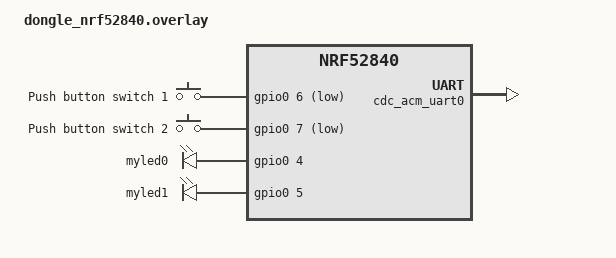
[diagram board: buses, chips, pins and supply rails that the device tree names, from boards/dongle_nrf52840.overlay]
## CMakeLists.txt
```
#
# Copyright (c) 2020 Nordic Semiconductor ASA
#
# SPDX-License-Identifier: LicenseRef-Nordic-5-Clause
#
cmake_minimum_required(VERSION 3.20.0)

find_package(Zephyr REQUIRED HINTS $ENV{ZEPHYR_BASE})

project(thread_coap_client_dongle_power_strip)

# NORDIC SDK APP START
target_sources(app PRIVATE src/thread_dongle_client_power_strip.c
                  src/coap_client_utils.c)

target_include_directories(app PUBLIC ../thread_dongle_server/interface)
# NORDIC SDK APP END
```

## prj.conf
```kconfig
#
# Copyright (c) 2020 Nordic Semiconductor
#
# SPDX-License-Identifier: LicenseRef-Nordic-5-Clause
#

# nRF board library
CONFIG_DK_LIBRARY=y

# Enable CoAP utils and CoAP protocol
CONFIG_COAP_UTILS=y

# Generic networking options
CONFIG_NETWORKING=y

# L2 OpenThread enabling
CONFIG_NET_L2_OPENTHREAD=y

# Network shell
CONFIG_SHELL=y
CONFIG_OPENTHREAD_SHELL=y
CONFIG_SHELL_ARGC_MAX=26
CONFIG_SHELL_CMD_BUFF_SIZE=416

# Network sockets
CONFIG_NET_SOCKETS=y
CONFIG_NET_SOCKETS_POSIX_NAMES=y
CONFIG_NET_SOCKETS_POLL_MAX=4

# Same network Master Key for client and server
CONFIG_OPENTHREAD_NETWORKKEY="00:11:22:33:44:55:66:77:88:99:aa:bb:cc:dd:ee:ff"

CONFIG_MBEDTLS_SHA1_C=n
CONFIG_FPU=y
```

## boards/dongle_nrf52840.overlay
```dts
/* Copyright (c) 2020 Nordic Semiconductor ASA
 *
 * SPDX-License-Identifier: LicenseRef-Nordic-5-Clause
 */

/ {
    /*
    * In some default configurations within the nRF Connect SDK,
    * e.g. on nRF52840, the chosen zephyr,entropy node is &cryptocell.
    * This devicetree overlay ensures that default is overridden wherever it
    * is set, as this application uses the RNG node for entropy exclusively.
    */
    chosen {
        zephyr,console = &cdc_acm_uart0;
        zephyr,entropy = &rng;
        zephyr,shell-uart = &cdc_acm_uart0;
    };
    aliases {
        line1 = &myled0;
        line2 = &myled1;
        row1 = &button1;
        row2 = &button2;
    };
    buttons {
        compatible = "gpio-keys";
        button1: button_1 {
            gpios = <&gpio0 6 (GPIO_PULL_UP | GPIO_ACTIVE_LOW)>;
            label = "Push button switch 1";
        };
        button2: button_2 {
            gpios = <&gpio0 7 (GPIO_PULL_UP | GPIO_ACTIVE_LOW)>;
            label = "Push button switch 2";
        };
    };

    leds {
            compatible = "gpio-leds";
            myled0: led_4 {
                    gpios = <&gpio0 4 GPIO_ACTIVE_HIGH>;
            };
            myled1: led_5 {
                gpios = <&gpio0 5 GPIO_ACTIVE_HIGH>;
        };
    };
};

&adc {
    status = "disabled";
};
&uart1 {
    status = "disabled";
};
&pwm0 {
    status = "disabled";
};
&i2c0 {
    status = "disabled";
};
&spi0 {
    status = "disabled";
};
&spi1 {
    status = "disabled";
};
&spi2 {
    status = "disabled";
};
&spi3 {
    status = "disabled";
};
&qspi {
    status = "disabled";
};

&zephyr_udc0 {
    cdc_acm_uart0: cdc_acm_uart0 {
        compatible = "zephyr,cdc-acm-uart";
    };
};
```

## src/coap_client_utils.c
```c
/*
 * Copyright (c) 2020 Nordic Semiconductor ASA
 *
 * SPDX-License-Identifier: LicenseRef-Nordic-5-Clause
 */

#include <zephyr/kernel.h>
#include <thread_dongle_interface.h>
#include <dk_buttons_and_leds.h>
#include <net/coap_utils.h>
#include <zephyr/logging/log.h>
#include <zephyr/net/openthread.h>
#include <zephyr/net/socket.h>
#include <openthread/thread.h>

#include "coap_client_utils.h"

static bool is_connected;

static struct k_work send_keep_alive_work;
static struct k_work power_strip_status_work;
static struct k_work on_connect_work;
static struct k_work on_disconnect_work;


/* Options supported by the server */
static const char *const commands_option[] = { COMMANDS_URI_PATH, NULL };
static const char *const power_strip_status_option[] = { POWER_STRIP_URI_PATH, NULL };

/* Thread multicast mesh local address */
static struct sockaddr_in6 multicast_local_addr = {
     .sin6_family = AF_INET6,
     .sin6_port = htons(COAP_PORT),
     .sin6_addr.s6_addr = { 0xff, 0x03, 0x00, 0x00, 0x00, 0x00, 0x00, 0x00,
                      0x00, 0x00, 0x00, 0x00, 0x00, 0x00, 0x00, 0x01 },
     .sin6_scope_id = 0U
};

// Variable for storing orchestrator server ressources */
struct server_ressources {
     bool r1_status;
     bool r2_status;
     bool r3_status;
     bool r4_status;
};

static struct server_ressources srv_ressources = {
    .r1_status = NULL,
    .r2_status = NULL,
    .r3_status = NULL,
    .r4_status = NULL,
};

static int on_commands_msg_reply(const struct coap_packet *response,
                     struct coap_reply *reply,
                     const struct sockaddr *from)
{
     ARG_UNUSED(reply);
     ARG_UNUSED(from);   

     const uint8_t *payload;
     uint16_t payload_size = 0u; 
     char *cmd_ok = "CMD:OK";

     dk_set_led_off(RESSOURCES_STATUS_MSG_LED);

     payload = coap_packet_get_payload(response, &payload_size);

     // Check if CMD:OK in payload
     if (strstr(payload, cmd_ok) != NULL) {
          printk("THREAD [DEBBUG]: commands msg reply: CMD_ACK\r\n"); 
          dk_set_led_off(COMMANDS_MSG_LED);     
     }
exit:
     return 0;
}

static int on_power_strip_status_reply(const struct coap_packet *response,
                     struct coap_reply *reply,
                     const struct sockaddr *from)
{
     const uint8_t *payload;
     uint16_t payload_size = 0u;

     ARG_UNUSED(reply);
     ARG_UNUSED(from);

     printk("THREAD [DEBBUG]: Power strip status reply received from server \r\n");     

     dk_set_led_off(RESSOURCES_STATUS_MSG_LED);

     payload = coap_packet_get_payload(response, &payload_size); 

     // Print payload
     printk("THREAD [DEBBUG]: Received payload: size: %d  payload ", payload_size);
		for( int i =0; i < payload_size; i++ ){
			printk("%c", payload[i]);
     }
     printk("\r\n");

     // Check if outlet in payload
     char* outlet_in_payload = strchr(payload, 'o');
     if(*outlet_in_payload != NULL){
          // Retreive relays status
          const char r1_status_char = (char)payload[8];
          const char r2_status_char = (char)payload[9];
          const char r3_status_char = (char)payload[10];
          const char r4_status_char = (char)payload[11];
          bool r1_received_status = r1_status_char == '1' ? true : false;   
          bool r2_received_status = r2_status_char == '1' ? true : false;   
          bool r3_received_status = r3_status_char == '1' ? true : false;   
          bool r4_received_status = r4_status_char == '1' ? true : false; 

          // Set new status to server ressources instance
          srv_ressources.r1_status=r1_received_status;
          srv_ressources.r2_status=r2_received_status;
          srv_ressources.r3_status=r3_received_status;
          srv_ressources.r4_status=r4_received_status;          
     }
exit:
     return 0;
}

static void send_keep_alive(struct k_work *item)
{
     ARG_UNUSED(item);

     printk("THREAD [DEBBUG]: Sending keep alive msg to server \r\n");

     static uint8_t msg_buf[] = KEEP_ALIVE_DEVICE_ID_7;
     uint16_t msg_len = sizeof(msg_buf);

     int ret_coap_req = coap_send_request(
          COAP_METHOD_PUT,(const struct sockaddr *)&multicast_local_addr,
          commands_option, &msg_buf, msg_len, on_commands_msg_reply);
     
     dk_set_led_on(COMMANDS_MSG_LED);
}

static void send_power_strip_status_request(struct k_work *item)
{
     ARG_UNUSED(item);

     printk("THREAD [DEBBUG]: Sending power strip status request to server \r\n");

     coap_send_request(COAP_METHOD_GET,
                 (const struct sockaddr *)&multicast_local_addr,
                 power_strip_status_option, NULL, 0u, on_power_strip_status_reply);
     dk_set_led_on(RESSOURCES_STATUS_MSG_LED);
}

bool get_server_r1_status(void){
     return srv_ressources.r1_status;
}

bool get_server_r2_status(void){
     return srv_ressources.r2_status;
}

bool get_server_r3_status(void){
     return srv_ressources.r3_status;
}

bool get_server_r4_status(void){
     return srv_ressources.r4_status;
}

static void on_thread_state_changed(otChangedFlags flags, struct openthread_context *ot_context,
                        void *user_data)
{
     if (flags & OT_CHANGED_THREAD_ROLE) {
          switch (otThreadGetDeviceRole(ot_context->instance)) {
          case OT_DEVICE_ROLE_CHILD:
          case OT_DEVICE_ROLE_ROUTER:
          case OT_DEVICE_ROLE_LEADER:
               k_work_submit(&on_connect_work);
               is_connected = true;
               break;

          case OT_DEVICE_ROLE_DISABLED:
          case OT_DEVICE_ROLE_DETACHED:
          default:
               k_work_submit(&on_disconnect_work);
               is_connected = false;
               break;
          }
     }
}

static struct openthread_state_changed_cb ot_state_chaged_cb = {
     .state_changed_cb = on_thread_state_changed
};

static void submit_work_if_connected(struct k_work *work)
{         
     if (is_connected) {
          k_work_submit(work);
     } else {
          printk("THREAD [ERROR]: Connection is broken \r\n");
     }
}

void coap_client_utils_init(ot_connection_cb_t on_connect, ot_disconnection_cb_t on_disconnect)
{

     coap_init(AF_INET6, NULL);

     k_work_init(&on_connect_work, on_connect);
     k_work_init(&on_disconnect_work, on_disconnect);
     k_work_init(&send_keep_alive_work, send_keep_alive);
     k_work_init(&power_strip_status_work, send_power_strip_status_request);

     openthread_state_changed_cb_register(openthread_get_default_context(), &ot_state_chaged_cb);
     openthread_start(openthread_get_default_context());
}

void coap_client_send_keep_alive(void)
{
     submit_work_if_connected(&send_keep_alive_work);
}

void coap_client_send_power_strip_status_request(void)
{
     submit_work_if_connected(&power_strip_status_work);
}
```

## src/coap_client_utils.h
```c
/**
 * @file
 * @defgroup coap_client_utils API for coap_client_* samples
 * @{
 */

/*
 * Copyright (c) 2020 Nordic Semiconductor ASA
 *
 * SPDX-License-Identifier: LicenseRef-Nordic-5-Clause
 */

#ifndef __COAP_CLIENT_UTILS_H__
#define __COAP_CLIENT_UTILS_H__

/** @brief Type indicates function called when OpenThread connection
 *         is established.
 *
 * @param[in] item pointer to work item.
 */
typedef void (*ot_connection_cb_t)(struct k_work *item);

/** @brief Type indicates function called when OpenThread connection is ended.
 *
 * @param[in] item pointer to work item.
 */
typedef void (*ot_disconnection_cb_t)(struct k_work *item);

/** @brief Initialize CoAP client utilities.
 */
void coap_client_utils_init(ot_connection_cb_t on_connect,
                   ot_disconnection_cb_t on_disconnect);

/** @brief Request for post keep alive msg.
 *
 */
void coap_client_send_keep_alive(void);

/** @brief Request for the CoAP power strip status ressource.
 *
 */
void coap_client_send_power_strip_status_request(void);

/** @brief Returns the orchestrator r1 status.
 *
 */
bool get_server_r1_status(void);

/** @brief Returns the orchestrator r2 status.
 *
 */
bool get_server_r2_status(void);

/** @brief Returns the orchestrator r3 status.
 *
 */
bool get_server_r3_status(void);

/** @brief Returns the orchestrator r4 status.
 *
 */
bool get_server_r4_status(void);

#endif

/**
 * @}
 */
```

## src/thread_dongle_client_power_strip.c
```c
/*
 * Copyright (c) 2020 Nordic Semiconductor ASA
 * Copyright (c) 2016-2023 Makerdiary
 *
 * SPDX-License-Identifier: LicenseRef-Nordic-5-Clause
 */

#include <zephyr/kernel.h>
#include <zephyr/drivers/gpio.h>
#include <zephyr/sys/util.h>
#include <dk_buttons_and_leds.h>
#include <zephyr/logging/log.h>
#include <zephyr/device.h>
#include <zephyr/pm/device.h>
#include <zephyr/sys/printk.h>
#include <thread_dongle_interface.h>

#include "coap_client_utils.h"

// Buttons pressed check period
#define KEEP_ALIVE_MSG_PERIOD_MS   10000
#define REQUEST_STATUS_PERIOD_MS   2000

// Setup for L1 and L2
static const struct gpio_dt_spec relay_1 = GPIO_DT_SPEC_GET(DT_ALIAS(relay1), gpios);
static const struct gpio_dt_spec relay_2 = GPIO_DT_SPEC_GET(DT_ALIAS(relay2), gpios);
static const struct gpio_dt_spec relay_3 = GPIO_DT_SPEC_GET(DT_ALIAS(relay3), gpios);
static const struct gpio_dt_spec relay_4 = GPIO_DT_SPEC_GET(DT_ALIAS(relay4), gpios);


bool relay1_status = false;
bool relay2_status = false;
bool relay3_status = false;
bool relay4_status = false;

static void on_ot_connect(struct k_work *item)
{
    ARG_UNUSED(item);
    dk_set_led_on(OT_CONNECTION_LED);
}

static void on_ot_disconnect(struct k_work *item)
{
    ARG_UNUSED(item);
    dk_set_led_off(OT_CONNECTION_LED);
}

static void set_relays_status(bool r1_status, bool r2_status, bool r3_status, bool r4_status){
    /*Set relays status*/

    gpio_pin_set_dt(&relay_1, r1_status? 1:0);
    relay1_status = r1_status;
    gpio_pin_set_dt(&relay_2, r2_status? 1:0);
    relay2_status = r2_status;
    gpio_pin_set_dt(&relay_3, r3_status? 1:0);
    relay3_status = r3_status;
    gpio_pin_set_dt(&relay_4, r4_status? 1:0);
    relay4_status = r4_status;
    printk("THREAD [DEBBUG]: Setting relays statuses  R1:%d  R2:%d  R3:%d  R4:%d \r\n",relay1_status, relay2_status, relay3_status, relay4_status);
}

static void set_single_relay_status(uint16_t relay_number, bool status){
    /*Set single relays status*/

    if(relay_number == 1){
        gpio_pin_set_dt(&relay_1, status? 1:0);
        relay1_status = status;
        return;
    }   
    if(relay_number == 2){
        gpio_pin_set_dt(&relay_2, status? 1:0);
        relay2_status = status;
        return;
    }   
    if(relay_number == 3){
        gpio_pin_set_dt(&relay_3, status? 1:0);
        relay3_status = status;
        return;
    }   
    if(relay_number == 4){
        gpio_pin_set_dt(&relay_4, status? 1:0);
        relay4_status = status;
        return;
    }    
    printk("ERROR invalid relay number: %d", relay_number);
    return;
}

static void update_power_strip_status(){

    bool r1_status = get_server_r1_status();
    bool r2_status = get_server_r2_status();
    bool r3_status = get_server_r3_status();
    bool r4_status = get_server_r4_status();

    printk("THREAD [DEBBUG] Current power strip status R1:%d  R2:%d  R3:%d  R4:%d\r\n", r1_status, r2_status, r3_status, r4_status);

    set_relays_status(r1_status, r2_status, r3_status, r4_status);
}


int main(void)
{
    int ret1;
    int ret2;
    int ret3;
    int ret4;
    
    //Check if R1, R2, R3 and R4 are ready
    if ((!device_is_ready(relay_1.port)) && (!device_is_ready(relay_2.port)) && (!device_is_ready(relay_3.port)) && (!device_is_ready(relay_4.port))){
        printk("GPIO [ERROR]: Cannot configure devices\r\n");
        return 0;
    }

    //Configure R1, R2, R3 and R4 as outputs
    ret1 = gpio_pin_configure_dt(&relay_1, GPIO_OUTPUT_ACTIVE);
    ret2 = gpio_pin_configure_dt(&relay_2, GPIO_OUTPUT_ACTIVE);
    ret3 = gpio_pin_configure_dt(&relay_3, GPIO_OUTPUT_ACTIVE);
    ret4 = gpio_pin_configure_dt(&relay_4, GPIO_OUTPUT_ACTIVE);
    if ((ret1 < 0) && (ret2 < 0) && (ret3 < 0) && (ret4 < 0)) {
        printk("GPIO [ERROR]: Cannot configure pins\r\n");
        return 0;
    }

    ret1 = dk_leds_init();
    if (ret1) {
        printk("LEDS [ERROR]: Cannot init leds, (error: %d)\r\n", ret1);
        return 0;
    }    

    //Set R1(on), R2(on), R3(on) and R4(on) initial values
    gpio_pin_set_dt(&relay_1, 1);
    gpio_pin_set_dt(&relay_2, 1);
    gpio_pin_set_dt(&relay_3, 1);
    gpio_pin_set_dt(&relay_4, 1);
    relay1_status = true;
    relay2_status = true;
    relay3_status = true;
    relay4_status = true;

    // Init thread/coap
    coap_client_utils_init(on_ot_connect, on_ot_disconnect);   

    int wait_loops_for_ka = KEEP_ALIVE_MSG_PERIOD_MS / REQUEST_STATUS_PERIOD_MS;
    int loops_count = 0;

    // Set initial relays status
    set_relays_status(true,true,true,true);
    k_msleep(1000);

    while (1) {
        coap_client_send_power_strip_status_request();
        k_msleep(REQUEST_STATUS_PERIOD_MS*0.3);
        update_power_strip_status();
        k_msleep(REQUEST_STATUS_PERIOD_MS*0.7);
        if (loops_count >=wait_loops_for_ka ){
            coap_client_send_keep_alive();   
            loops_count = 0;
        } 
        loops_count ++;
    }
    return 0;
}
```
